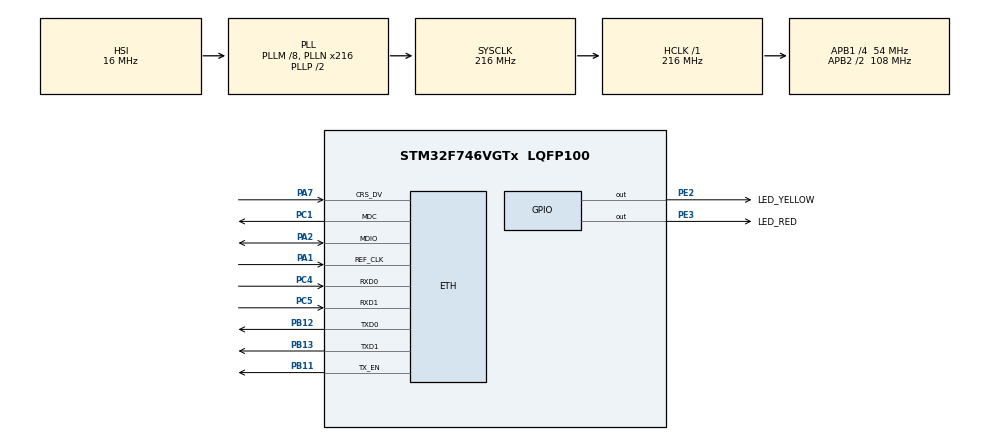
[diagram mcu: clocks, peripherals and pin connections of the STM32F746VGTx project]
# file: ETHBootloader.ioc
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CORTEX_M7.CPU_DCache=Disabled
CORTEX_M7.CPU_ICache=Enabled
CORTEX_M7.MPU_Control=__NULL
ETH.AutoNegotiation=ETH_AUTONEGOTIATION_DISABLE
ETH.DuplexMode=ETH_MODE_FULLDUPLEX
ETH.MediaInterface=ETH_MEDIA_INTERFACE_RMII
ETH.PHY_Name_RMII=userPHY
ETH.PHY_User_Name=KSZ8081
LWIP.CMSIS_VERSION-Enabled=1
LWIP.DEFAULT_THREAD_STACKSIZE=128
LWIP.GATEWAY_ADDRESS=192.168.001.001
LWIP.HTTPD_DEBUG=LWIP_DBG_OFF
LWIP.HTTPD_USE_MEM_POOL=0
LWIP.IP_ADDRESS=192.168.001.002
LWIP.LWIP_ALLOW_MEM_FREE_FROM_OTHER_CONTEXT=1
LWIP.LWIP_AUTOIP=0
LWIP.LWIP_DBG_MIN_LEVEL=LWIP_DBG_LEVEL_ALL
LWIP.LWIP_DBG_TYPES_ON=LWIP_DBG_OFF
LWIP.LWIP_DHCP=1
LWIP.LWIP_DHCP_AUTOIP_COOP=0
LWIP.LWIP_DHCP_AUTOIP_COOP_TRIES=1
LWIP.LWIP_DNS=0
LWIP.LWIP_HTTPD=1
LWIP.LWIP_HTTPD_ABORT_ON_CLOSE_MEM_ERROR=1
LWIP.LWIP_HTTPD_CGI=1
LWIP.LWIP_HTTPD_DYNAMIC_HEADERS=1
LWIP.LWIP_HTTPD_FS_ASYNC_READ=0
LWIP.LWIP_HTTPD_KILL_OLD_ON_CONNECTIONS_EXCEEDED=1
LWIP.LWIP_HTTPD_MAX_CGI_PARAMETERS=20
LWIP.LWIP_HTTPD_MAX_REQ_LENGTH=1023
LWIP.LWIP_HTTPD_MAX_TAG_NAME_LEN=10
LWIP.LWIP_HTTPD_POST_MANUAL_WND=1
LWIP.LWIP_HTTPD_REQ_BUFSIZE=1023
LWIP.LWIP_HTTPD_SSI=1
LWIP.LWIP_HTTPD_SUPPORT_POST=1
LWIP.LWIP_IGMP=1
LWIP.LWIP_MDNS=0
LWIP.LWIP_MULTICAST_PING=1
LWIP.LWIP_MULTICAST_TX_OPTIONS=1
LWIP.LWIP_NETIF_EXT_STATUS_CALLBACK=0
LWIP.LWIP_NETIF_HOSTNAME=1
LWIP.LWIP_NETIF_STATUS_CALLBACK=1
LWIP.LWIP_NUM_NETIF_CLIENT_DATA=1
LWIP.LWIP_SINGLE_NETIF=1
LWIP.LWIP_TCPIP_CORE_LOCKING=1
LWIP.LWIP_TCPIP_CORE_LOCKING_INPUT=0
LWIP.MDNS_DEBUG=LWIP_DBG_OFF
LWIP.MEMP_DEBUG=LWIP_DBG_OFF
LWIP.MEMP_MEM_INIT=1
LWIP.MEMP_NUM_PBUF=64
LWIP.MEMP_NUM_SYS_TIMEOUT=12
LWIP.MEMP_NUM_TCP_PCB=6
LWIP.MEMP_NUM_TCP_PCB_LISTEN=12
LWIP.MEMP_NUM_TCP_SEG=16
LWIP.MEMP_NUM_UDP_PCB=6
LWIP.MEMP_OVERFLOW_CHECK=1
LWIP.MEMP_SANITY_CHECK=1
LWIP.MEM_DEBUG=LWIP_DBG_OFF
LWIP.MEM_OVERFLOW_CHECK=1
LWIP.MEM_SANITY_CHECK=1
LWIP.MEM_SIZE=10240
LWIP.NETIF_DEBUG=LWIP_DBG_OFF
LWIP.NETMASK_ADDRESS=255.255.255.000
LWIP.PBUF_DEBUG=LWIP_DBG_OFF
LWIP.PBUF_POOL_BUFSIZE=1524
LWIP.PBUF_POOL_SIZE=80
LWIP.SLIPIF_THREAD_STACKSIZE=128
LWIP.TCPIP_THREAD_PRIO=49
LWIP.TCPIP_THREAD_STACKSIZE=4096
LWIP.TCP_OUTPUT_DEBUG=LWIP_DBG_OFF
LWIP.TCP_QUEUE_OOSEQ=0
LWIP.TCP_SND_QUEUELEN=9
LWIP.TIMERS_DEBUG=LWIP_DBG_OFF
LWIP.Version=v2.1.2_Cube
Mcu.Family=STM32F7
Mcu.Name=STM32F746VGTx
Mcu.Package=LQFP100
Mcu.UserConstants=LWIP_DEBUG,0;LWIP_NUM_NETIF_CLIENT_DATA,1
NVIC.PriorityGroup=NVIC_PRIORITYGROUP_4
NVIC.TIM1_UP_TIM10_IRQn=true\:15\:0\:false\:false\:true\:false\:true
NVIC.TimeBase=TIM1_UP_TIM10_IRQn
NVIC.TimeBaseIP=TIM1
PA1.Mode=RMII
PA1.Signal=ETH_REF_CLK
PA2.Mode=RMII
PA2.Signal=ETH_MDIO
PA7.Mode=RMII
PA7.Signal=ETH_CRS_DV
PB11.Mode=RMII
PB11.Signal=ETH_TX_EN
PB12.Mode=RMII
PB12.Signal=ETH_TXD0
PB13.Mode=RMII
PB13.Signal=ETH_TXD1
PC1.Mode=RMII
PC1.Signal=ETH_MDC
PC4.Mode=RMII
PC4.Signal=ETH_RXD0
PC5.Mode=RMII
PC5.Signal=ETH_RXD1
PE2.GPIO_Label=LED_YELLOW
PE2.PinState=GPIO_PIN_SET
PE2.Signal=GPIO_Output
PE3.GPIO_Label=LED_RED
PE3.GPIO_PuPd=GPIO_NOPULL
PE3.PinState=GPIO_PIN_RESET
PE3.Signal=GPIO_Output
PH0/OSC_IN.Mode=HSE-External-Oscillator
PH0/OSC_IN.Signal=RCC_OSC_IN
PH1/OSC_OUT.Mode=HSE-External-Oscillator
PH1/OSC_OUT.Signal=RCC_OSC_OUT
ProjectManager.HeapSize=0x200
ProjectManager.StackSize=0x400
ProjectManager.TargetToolchain=STM32CubeIDE
RCC.AHBFreq_Value=216000000
RCC.APB1CLKDivider=RCC_HCLK_DIV4
RCC.APB1Freq_Value=54000000
RCC.APB1TimFreq_Value=108000000
RCC.APB2CLKDivider=RCC_HCLK_DIV2
RCC.APB2Freq_Value=108000000
RCC.APB2TimFreq_Value=216000000
RCC.CortexFreq_Value=216000000
RCC.HCLKFreq_Value=216000000
RCC.HSE_VALUE=12000000
RCC.HSI_VALUE=16000000
RCC.LSE_VALUE=32768
RCC.PLLM=8
RCC.PLLN=216
RCC.SYSCLKFreq_VALUE=216000000
RCC.SYSCLKSource=RCC_SYSCLKSOURCE_PLLCLK
RCC.USBFreq_Value=216000000
RCC.VCOOutputFreq_Value=432000000
VP_LWIP_VS_Enabled.Mode=Enabled
VP_SYS_VS_tim1.Mode=TIM1
board=custom

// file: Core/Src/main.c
/* USER CODE BEGIN Header */
/**
  ******************************************************************************
  * @file           : main.c
  * @brief          : Main program body
  ******************************************************************************
  * @attention
  *
  * <h2><center>&copy; Copyright (c) 2021 STMicroelectronics.
  * All rights reserved.</center></h2>
  *
  * This software component is licensed by ST under Ultimate Liberty license
  * SLA0044, the "License"; You may not use this file except in compliance with
  * the License. You may obtain a copy of the License at:
  *                             www.st.com/SLA0044
  *
  ******************************************************************************
  */
/* USER CODE END Header */
#include "main.h"
#include "lwip.h"

/* USER CODE BEGIN Includes */
#include  <errno.h>
#include  <sys/unistd.h> // STDOUT_FILENO, STDERR_FILENO
#include  <httpd.h>
#include  "web.h"
#include  "jumpcode.h"
/* USER CODE END Includes */

/* USER CODE BEGIN PD */

/* Software Reset */
/* Rebase the stack pointer and the vector table base address to bootloader */
#define RESET_CMD() __set_MSP(*(uint32_t *) (ADDR_FLASH_SECTOR_0));  \
  SCB->VTOR = ((uint32_t) (ADDR_FLASH_SECTOR_0) & SCB_VTOR_TBLOFF_Msk); \
    NVIC_SystemReset()

/* USER CODE END PD */

/* USER CODE BEGIN PV */
static uint8_t reset = 0;
static uint32_t counter = 0;
/* USER CODE END PV */

void SystemClock_Config(void);
static void MX_GPIO_Init(void);

/* USER CODE BEGIN 0 */
int _write(int file, char *data, int len)
{
   if ((file != STDOUT_FILENO) && (file != STDERR_FILENO))
   {
      errno = EBADF;
      return -1;
   }

   //HAL_UART_Transmit(&huart8, (uint8_t*)data, len, 1000);

   for(int i=0 ; i<len ; i++)
   {
     ITM_SendChar((*data++));
   }

   return 0;
}
/* USER CODE END 0 */

int main(void)
{
  /* USER CODE BEGIN 1 */
  JumpCode_t code;
  uint8_t  arg;

  getJumpCode(&code, &arg);
  switch(code)
  {
    case AUTO:
        //start App

        __disable_irq();
        SysTick->CTRL = 0;
        SysTick->LOAD = 0;
        SysTick->VAL = 0;
        __DSB();

        SCB->ICSR |= SCB_ICSR_PENDSTCLR_Msk;
        SCB->VTOR = USER_FLASH_FIRST_PAGE_ADDRESS;

        typedef void (*pFunction)(void);
        pFunction Jump_To_Application;
        uint32_t JumpAddress = *(__IO uint32_t*) (USER_FLASH_FIRST_PAGE_ADDRESS + 4);
        //uint32_t JumpAddress = (USER_FLASH_FIRST_PAGE_ADDRESS + 4);
        Jump_To_Application = (pFunction) JumpAddress;

        __DSB();
        __ISB();

        /* Initialize user application's Stack Pointer */
        __set_MSP(*(__IO uint32_t*) USER_FLASH_FIRST_PAGE_ADDRESS);
        __set_CONTROL(0);
        __enable_irq();
        Jump_To_Application();
        /* do nothing */
        while(1);
        break;

    default:
        //continue in Bootloader
        break;
}
  /* USER CODE END 1 */

  /* Enable I-Cache---------------------------------------------------------*/
  SCB_EnableICache();

  /* MCU Configuration--------------------------------------------------------*/

  /* Reset of all peripherals, Initializes the Flash interface and the Systick. */
  HAL_Init();

  /* Configure the system clock */
  SystemClock_Config();

  /* Initialize all configured peripherals */
  MX_GPIO_Init();
  MX_LWIP_Init();
  /* USER CODE BEGIN 2 */
  httpd_init();

  printf("Bootloader Init completed\r\n");
  /* USER CODE END 2 */

  /* Infinite loop */
  while (1)
  {

    /* USER CODE BEGIN 3 */
      MX_LWIP_Process();
      //HAL_GPIO_TogglePin(LED_YELLOW_GPIO_Port, LED_YELLOW_Pin);
      if (reset)
      {
          //give some time to response startapp.html
          counter++;
          if(counter>1000000)
          {
              RESET_CMD();
          }

      }
  }
  /* USER CODE END 3 */
}

void SystemClock_Config(void)
{
  RCC_OscInitTypeDef RCC_OscInitStruct = {0};
  RCC_ClkInitTypeDef RCC_ClkInitStruct = {0};

  /** Configure the main internal regulator output voltage
  */
  __HAL_RCC_PWR_CLK_ENABLE();
  __HAL_PWR_VOLTAGESCALING_CONFIG(PWR_REGULATOR_VOLTAGE_SCALE1);
  /** Initializes the RCC Oscillators according to the specified parameters
  * in the RCC_OscInitTypeDef structure.
  */
  RCC_OscInitStruct.OscillatorType = RCC_OSCILLATORTYPE_HSI;
  RCC_OscInitStruct.HSIState = RCC_HSI_ON;
  RCC_OscInitStruct.HSICalibrationValue = RCC_HSICALIBRATION_DEFAULT;
  RCC_OscInitStruct.PLL.PLLState = RCC_PLL_ON;
  RCC_OscInitStruct.PLL.PLLSource = RCC_PLLSOURCE_HSI;
  RCC_OscInitStruct.PLL.PLLM = 8;
  RCC_OscInitStruct.PLL.PLLN = 216;
  RCC_OscInitStruct.PLL.PLLP = RCC_PLLP_DIV2;
  RCC_OscInitStruct.PLL.PLLQ = 2;
  if (HAL_RCC_OscConfig(&RCC_OscInitStruct) != HAL_OK)
  {
    Error_Handler();
  }
  /** Activate the Over-Drive mode
  */
  if (HAL_PWREx_EnableOverDrive() != HAL_OK)
  {
    Error_Handler();
  }
  /** Initializes the CPU, AHB and APB buses clocks
  */
  RCC_ClkInitStruct.ClockType = RCC_CLOCKTYPE_HCLK|RCC_CLOCKTYPE_SYSCLK
                              |RCC_CLOCKTYPE_PCLK1|RCC_CLOCKTYPE_PCLK2;
  RCC_ClkInitStruct.SYSCLKSource = RCC_SYSCLKSOURCE_PLLCLK;
  RCC_ClkInitStruct.AHBCLKDivider = RCC_SYSCLK_DIV1;
  RCC_ClkInitStruct.APB1CLKDivider = RCC_HCLK_DIV4;
  RCC_ClkInitStruct.APB2CLKDivider = RCC_HCLK_DIV2;

  if (HAL_RCC_ClockConfig(&RCC_ClkInitStruct, FLASH_LATENCY_7) != HAL_OK)
  {
    Error_Handler();
  }
}

static void MX_GPIO_Init(void)
{
  GPIO_InitTypeDef GPIO_InitStruct = {0};

  /* GPIO Ports Clock Enable */
  __HAL_RCC_GPIOE_CLK_ENABLE();
  __HAL_RCC_GPIOH_CLK_ENABLE();
  __HAL_RCC_GPIOC_CLK_ENABLE();
  __HAL_RCC_GPIOA_CLK_ENABLE();
  __HAL_RCC_GPIOB_CLK_ENABLE();

  /*Configure GPIO pin Output Level */
  HAL_GPIO_WritePin(LED_YELLOW_GPIO_Port, LED_YELLOW_Pin, GPIO_PIN_SET);

  /*Configure GPIO pin Output Level */
  HAL_GPIO_WritePin(LED_RED_GPIO_Port, LED_RED_Pin, GPIO_PIN_RESET);

  /*Configure GPIO pins : LED_YELLOW_Pin LED_RED_Pin */
  GPIO_InitStruct.Pin = LED_YELLOW_Pin|LED_RED_Pin;
  GPIO_InitStruct.Mode = GPIO_MODE_OUTPUT_PP;
  GPIO_InitStruct.Pull = GPIO_NOPULL;
  GPIO_InitStruct.Speed = GPIO_SPEED_FREQ_LOW;
  HAL_GPIO_Init(GPIOE, &GPIO_InitStruct);

}

/* USER CODE BEGIN 4 */
void setReset(void)
{
    reset = 1;
}

/* USER CODE END 4 */

void HAL_TIM_PeriodElapsedCallback(TIM_HandleTypeDef *htim)
{
  if (htim->Instance == TIM1) {
    HAL_IncTick();
  }
}

void Error_Handler(void)
{
  __disable_irq();
  while (1)
  {
  }
}

/************************ (C) COPYRIGHT STMicroelectronics *****END OF FILE****/
